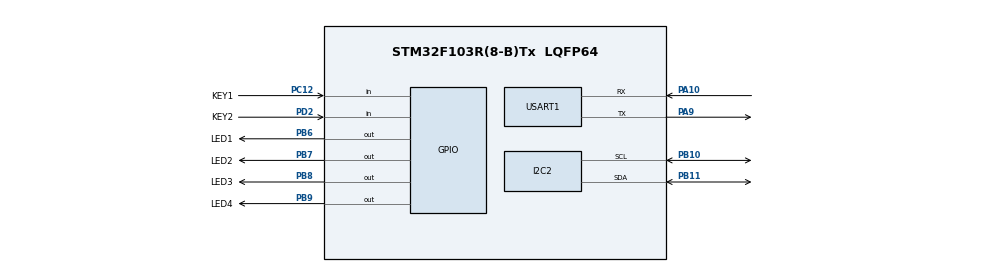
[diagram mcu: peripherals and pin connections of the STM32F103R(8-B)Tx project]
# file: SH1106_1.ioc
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I2C2.I2C_Mode=I2C_Standard
Mcu.Family=STM32F1
Mcu.Name=STM32F103R(8-B)Tx
Mcu.Package=LQFP64
NVIC.PriorityGroup=NVIC_PRIORITYGROUP_4
PA10.Mode=Asynchronous
PA10.Signal=USART1_RX
PA13.Mode=Serial_Wire
PA13.Signal=SYS_JTMS-SWDIO
PA14.Mode=Serial_Wire
PA14.Signal=SYS_JTCK-SWCLK
PA9.Mode=Asynchronous
PA9.Signal=USART1_TX
PB10.Mode=I2C
PB10.Signal=I2C2_SCL
PB11.Mode=I2C
PB11.Signal=I2C2_SDA
PB6.GPIO_Label=LED1
PB6.Signal=GPIO_Output
PB7.GPIO_Label=LED2
PB7.Signal=GPIO_Output
PB8.GPIO_Label=LED3
PB8.Signal=GPIO_Output
PB9.GPIO_Label=LED4
PB9.Signal=GPIO_Output
PC12.GPIO_Label=KEY1
PC12.Signal=GPIO_Input
PD2.GPIO_Label=KEY2
PD2.Signal=GPIO_Input
ProjectManager.HeapSize=0x200
ProjectManager.StackSize=0x400
ProjectManager.TargetToolchain=TrueSTUDIO
RCC.APB1Freq_Value=8000000
RCC.APB2Freq_Value=8000000
USART1.VirtualMode=VM_ASYNC
board=custom

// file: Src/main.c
/* USER CODE BEGIN Header */
/**
  ******************************************************************************
  * @file           : main.c
  * @brief          : Main program body
  ******************************************************************************
  * @attention
  *
  * <h2><center>&copy; Copyright (c) 2020 STMicroelectronics.
  * All rights reserved.</center></h2>
  *
  * This software component is licensed by ST under BSD 3-Clause license,
  * the "License"; You may not use this file except in compliance with the
  * License. You may obtain a copy of the License at:
  *                        opensource.org/licenses/BSD-3-Clause
  *
  ******************************************************************************
  */
/* USER CODE END Header */

#include "main.h"
#include "i2c.h"
#include "usart.h"
#include "gpio.h"

/* USER CODE BEGIN Includes */
#include <stdio.h>

#include "oled.h"
#include "test.h"
#include "gui.h"
/* USER CODE END Includes */

void SystemClock_Config(void);

/* USER CODE BEGIN 0 */
int _write(int file, char *ptr, int len)
{
    HAL_UART_Transmit(&huart1, (uint8_t*)ptr, (uint16_t)len, 0xFFFFFFFF);
	return len;
}
/* USER CODE END 0 */

int main(void)
{
  /* USER CODE BEGIN 1 */
  //uint8_t i = 0;
  /* USER CODE END 1 */

  /* MCU Configuration--------------------------------------------------------*/

  /* Reset of all peripherals, Initializes the Flash interface and the Systick. */
  HAL_Init();

  /* Configure the system clock */
  SystemClock_Config();

  /* Initialize all configured peripherals */
  MX_GPIO_Init();
  MX_I2C2_Init();
  MX_USART1_UART_Init();
  /* USER CODE BEGIN 2 */
  HAL_GPIO_WritePin(LED1_GPIO_Port, LED1_Pin, GPIO_PIN_SET);    // LED1 off
  HAL_GPIO_WritePin(LED2_GPIO_Port, LED2_Pin, GPIO_PIN_SET);    // LED2 off
  HAL_GPIO_WritePin(LED3_GPIO_Port, LED3_Pin, GPIO_PIN_SET);    // LED3 off
  HAL_GPIO_WritePin(LED4_GPIO_Port, LED4_Pin, GPIO_PIN_SET);    // LED4 off

  OLED_Init();
  OLED_Clear(0x00);

  /* USER CODE END 2 */

  /* Infinite loop */
  /* USER CODE BEGIN WHILE */
  while (1)
  {

	  TEST_MainPage();
	  OLED_Clear(0);
	  Test_Color();
	  OLED_Clear(0);
	  Test_Rectangular();
	  OLED_Clear(0);
	  Test_Circle();
	  OLED_Clear(0);
	  Test_Triangle();
	  OLED_Clear(0);
	  TEST_English();
	  OLED_Clear(0);
	  TEST_Number_Character();
	  OLED_Clear(0);
	  TEST_Chinese();
	  OLED_Clear(0);
	  TEST_BMP();
	  OLED_Clear(0);
	  TEST_Menu1();
	  OLED_Clear(0);
	  TEST_Menu2();
	  OLED_Clear(0);
    /* USER CODE END WHILE */

    /* USER CODE BEGIN 3 */
#if 0
	  HAL_GPIO_TogglePin(LED1_GPIO_Port, LED1_Pin);
	  printf("UART1 Test %d \r\n", i++);
	  HAL_Delay(500);
#endif
  }
  /* USER CODE END 3 */
}

void SystemClock_Config(void)
{
  RCC_OscInitTypeDef RCC_OscInitStruct = {0};
  RCC_ClkInitTypeDef RCC_ClkInitStruct = {0};

  /** Initializes the CPU, AHB and APB busses clocks
  */
  RCC_OscInitStruct.OscillatorType = RCC_OSCILLATORTYPE_HSI;
  RCC_OscInitStruct.HSIState = RCC_HSI_ON;
  RCC_OscInitStruct.HSICalibrationValue = RCC_HSICALIBRATION_DEFAULT;
  RCC_OscInitStruct.PLL.PLLState = RCC_PLL_NONE;
  if (HAL_RCC_OscConfig(&RCC_OscInitStruct) != HAL_OK)
  {
    Error_Handler();
  }
  /** Initializes the CPU, AHB and APB busses clocks
  */
  RCC_ClkInitStruct.ClockType = RCC_CLOCKTYPE_HCLK|RCC_CLOCKTYPE_SYSCLK
                              |RCC_CLOCKTYPE_PCLK1|RCC_CLOCKTYPE_PCLK2;
  RCC_ClkInitStruct.SYSCLKSource = RCC_SYSCLKSOURCE_HSI;
  RCC_ClkInitStruct.AHBCLKDivider = RCC_SYSCLK_DIV1;
  RCC_ClkInitStruct.APB1CLKDivider = RCC_HCLK_DIV1;
  RCC_ClkInitStruct.APB2CLKDivider = RCC_HCLK_DIV1;

  if (HAL_RCC_ClockConfig(&RCC_ClkInitStruct, FLASH_LATENCY_0) != HAL_OK)
  {
    Error_Handler();
  }
}

void Error_Handler(void)
{
}

/************************ (C) COPYRIGHT STMicroelectronics *****END OF FILE****/
